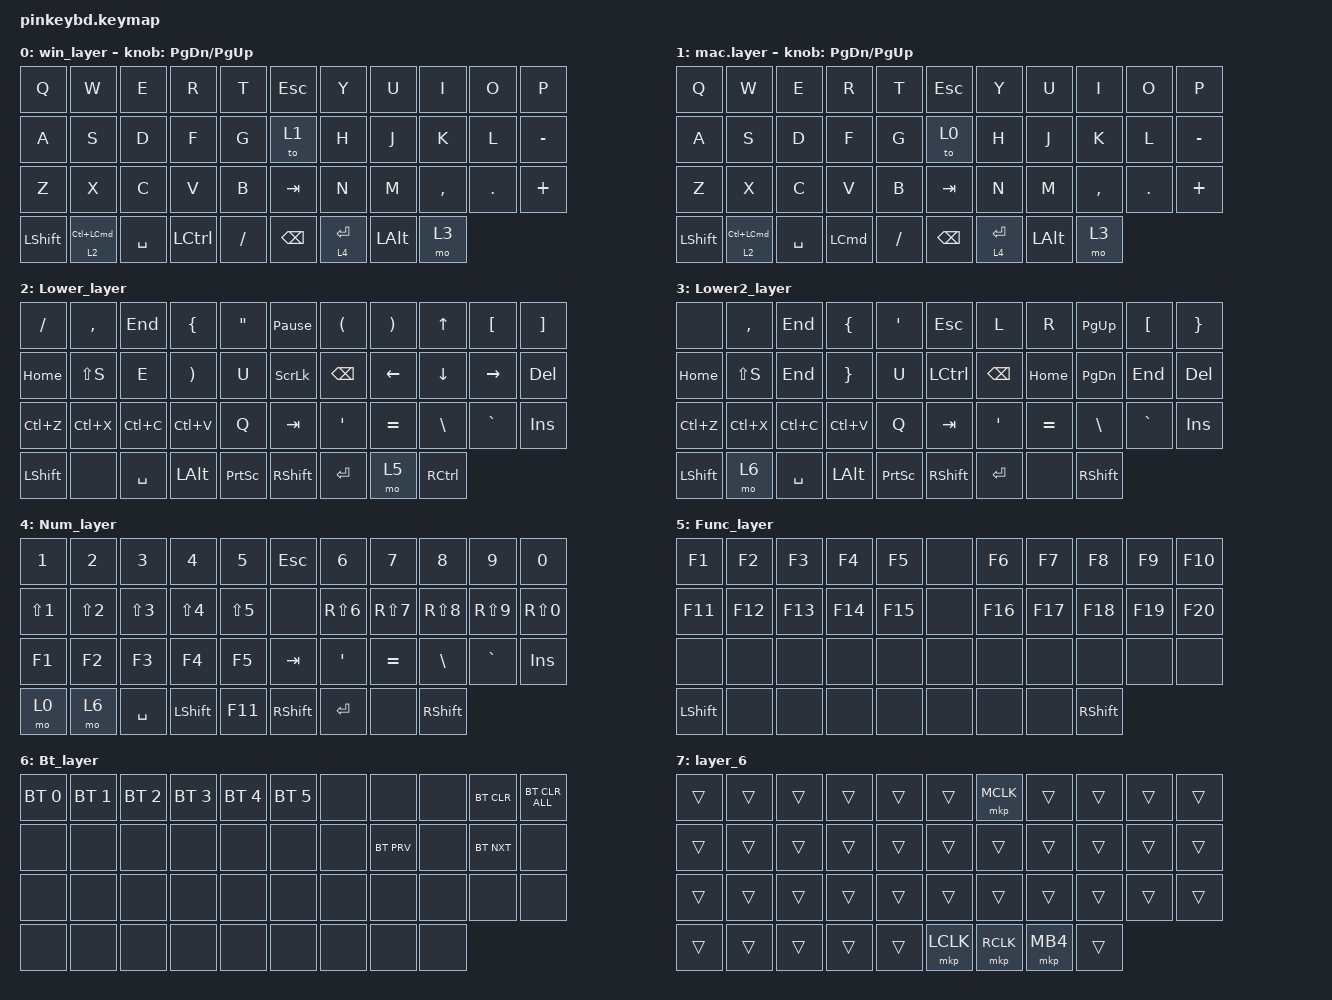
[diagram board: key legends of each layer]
#include <behaviors.dtsi>
#include <dt-bindings/zmk/bt.h>
#include <dt-bindings/zmk/keys.h>
#include <dt-bindings/zmk/pointing.h>

#define ZMK_POINTING_DEFAULT_SCRL_VAL 80

&lt { tapping-term-ms = <140>; };

/ {
    behaviors {
        rot_kp: sensor_rotate_kp {
            compatible = "zmk,behavior-sensor-rotate-var";
            #sensor-binding-cells = <2>;
            bindings = <&kp>, <&kp>;
        };
    };

    keymap {
        compatible = "zmk,keymap";

        // ---------------------------------------------------------------------------------------------------------------------------------------------------------------------------------------------------------------
        // |        /       |       ,       |       .       |      -        |      ;       |    ESC         |                   |           |       L      |       R       |       D       |       Y       |      P      |
        // |        A       |       O       |       E       |      I        |      U       |    SCROLLLOCK  |                   |           |       G      |       N       |       T       |       S       |      K      |
        // |        X       |       C       |       V       |      W        |      Q       |    TAB         |                   |     F     |       J      |       H       |       M       |       B       |      Z      |
        // |    L_SHIFT     |               |               |   LOWER / Jp  |    Space     |    LEFT_WIN    |                   |  R_SHIFT  |      ENTER   |  LOWER2 / Ja  |               |               |   FUN_L     |
        // ---------------------------------------------------------------------------------------------------------------------------------------------------------------------------------------------------------------

        win_layer {
            bindings = <
&kp Q       &kp W                   &kp E      &kp R             &kp T     &kp ESC   &kp Y        &kp U         &kp I      &kp O       &kp P
&kp A       &kp S                   &kp D      &kp F             &kp G     &to 1     &kp H        &kp J         &kp K      &kp L       &kp MINUS
&kp Z       &kp X                   &kp C      &kp V             &kp B     &kp TAB   &kp N        &kp M         &kp COMMA  &kp PERIOD  &kp PLUS
&kp LSHIFT  &lt 2 LC(LEFT_COMMAND)  &kp SPACE  &kp LEFT_CONTROL  &kp FSLH  &kp BSPC  &lt 4 ENTER  &kp LEFT_ALT  &mo 3
            >;

            sensor-bindings = <&rot_kp PG_DN PG_UP>;
        };

        mac.layer {
            bindings = <
&kp Q       &kp W                   &kp E      &kp R             &kp T      &kp ESC        &kp Y        &kp U         &kp I      &kp O       &kp P
&kp A       &kp S                   &kp D      &kp F             &kp G      &to 0          &kp H        &kp J         &kp K      &kp L       &kp MINUS
&kp Z       &kp X                   &kp C      &kp V             &kp B      &kp TAB        &kp N        &kp M         &kp COMMA  &kp PERIOD  &kp PLUS
&kp LSHIFT  &lt 2 LC(LEFT_COMMAND)  &kp SPACE  &kp LEFT_COMMAND  &kp SLASH  &kp BACKSPACE  &lt 4 ENTER  &kp LEFT_ALT  &mo 3
            >;

            sensor-bindings = <&rot_kp PG_DN PG_UP>;
        };

        Lower_layer {
            bindings = <
&kp FSLH    &kp COMMA  &kp END    &kp LEFT_BRACE  &kp DOUBLE_QUOTES  &kp PAUSE_BREAK  &kp LPAR   &kp RPAR   &kp UP     &kp LBKT   &kp RBKT
&kp HOME    &kp LS(S)  &kp E      &kp RPAR        &kp U              &kp SCROLLLOCK   &kp BSPC   &kp LEFT   &kp DOWN   &kp RIGHT  &kp DEL
&kp LC(Z)   &kp LC(X)  &kp LC(C)  &kp LC(V)       &kp Q              &kp TAB          &kp APOS   &kp EQUAL  &kp BSLH   &kp GRAVE  &kp INS
&kp LSHIFT  &none      &kp SPACE  &kp LALT        &kp PSCRN          &kp RSHIFT       &kp ENTER  &mo 5      &kp RCTRL
            >;
        };

        Lower2_layer {
            bindings = <
&none       &kp COMMA  &kp END    &kp LEFT_BRACE   &kp SINGLE_QUOTE  &kp ESC     &kp L      &kp R      &kp PG_UP   &kp LBKT   &kp RBRC
&kp HOME    &kp LS(S)  &kp END    &kp RIGHT_BRACE  &kp U             &kp LCTRL   &kp BSPC   &kp HOME   &kp PG_DN   &kp END    &kp DEL
&kp LC(Z)   &kp LC(X)  &kp LC(C)  &kp LC(V)        &kp Q             &kp TAB     &kp APOS   &kp EQUAL  &kp BSLH    &kp GRAVE  &kp INS
&kp LSHIFT  &mo 6      &kp SPACE  &kp LALT         &kp PSCRN         &kp RSHIFT  &kp ENTER  &none      &kp RSHIFT
            >;
        };

        Num_layer {
            bindings = <
&kp N1      &kp N2      &kp N3      &kp N4      &kp N5      &kp ESC     &kp N6      &kp N7      &kp N8      &kp N9      &kp N0
&kp LS(N1)  &kp LS(N2)  &kp LS(N3)  &kp LS(N4)  &kp LS(N5)  &none       &kp RS(N6)  &kp RS(N7)  &kp RS(N8)  &kp RS(N9)  &kp RS(N0)
&kp F1      &kp F2      &kp F3      &kp F4      &kp F5      &kp TAB     &kp APOS    &kp EQUAL   &kp BSLH    &kp GRAVE   &kp INS
&mo 0       &mo 6       &kp SPACE   &kp LSHIFT  &kp F11     &kp RSHIFT  &kp ENTER   &none       &kp RSHIFT
            >;
        };

        Func_layer {
            bindings = <
&kp F1      &kp F2   &kp F3   &kp F4   &kp F5   &none  &kp F6   &kp F7   &kp F8      &kp F9   &kp F10
&kp F11     &kp F12  &kp F13  &kp F14  &kp F15  &none  &kp F16  &kp F17  &kp F18     &kp F19  &kp F20
&none       &none    &none    &none    &none    &none  &none    &none    &none       &none    &none
&kp LSHIFT  &none    &none    &none    &none    &none  &none    &none    &kp RSHIFT
            >;
        };

        Bt_layer {
            bindings = <
&bt BT_SEL 0  &bt BT_SEL 1  &bt BT_SEL 2  &bt BT_SEL 3  &bt BT_SEL 4  &bt BT_SEL 5  &none  &none       &none  &bt BT_CLR  &bt BT_CLR_ALL
&none         &none         &none         &none         &none         &none         &none  &bt BT_PRV  &none  &bt BT_NXT  &none
&none         &none         &none         &none         &none         &none         &none  &none       &none  &none       &none
&none         &none         &none         &none         &none         &none         &none  &none       &none
            >;
        };

        layer_6 {
            bindings = <
&trans  &trans  &trans  &trans  &trans  &trans     &mkp MCLK  &trans    &trans  &trans  &trans
&trans  &trans  &trans  &trans  &trans  &trans     &trans     &trans    &trans  &trans  &trans
&trans  &trans  &trans  &trans  &trans  &trans     &trans     &trans    &trans  &trans  &trans
&trans  &trans  &trans  &trans  &trans  &mkp LCLK  &mkp RCLK  &mkp MB4  &trans
            >;
        };
    };
};

// ▼ここからオートマウスレイヤーの設定▼

&trackball { input-processors = <&zip_temp_layer 6 500>; };

// ▲ここまで▲
